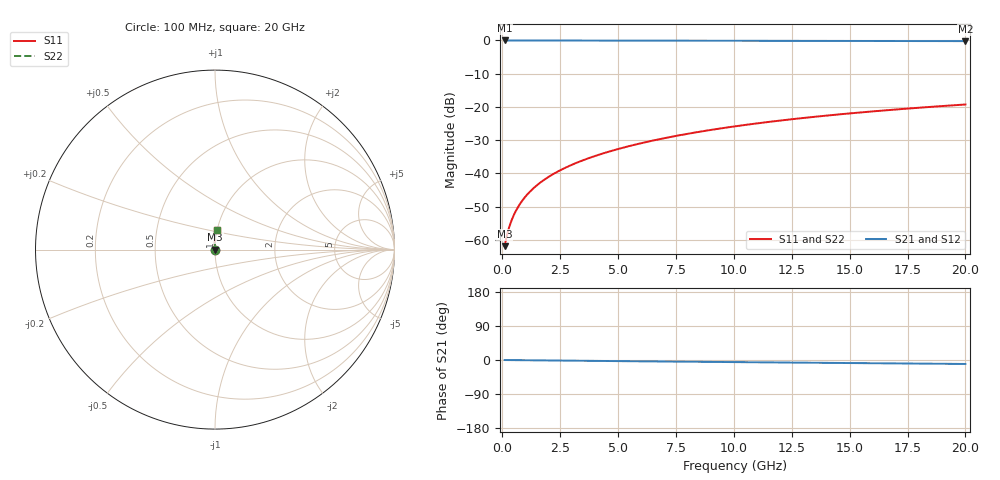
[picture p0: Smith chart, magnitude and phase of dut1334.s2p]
! Touchstone file exported from HFSS 2024.1.0
!  File:  C:/UserFiles/LocalFiles/RDL_TSV_Batchsim/temp_RDL_bottom_1334_1780369526.aedt
!  Generated:  11:07:44 AM Jun  2, 2026
!  Design:  RDL_bottom
!  Project:  temp_RDL_bottom_1334_1780369526
!  Setup:  Setup1
!  Solution:  Sweep
! Variables:
!  dtsv = 10.80580581um
!  hbump = 3um
!  htsv = 74.67um
!  ldown = 128.06um
!  lrdl = 100um
!  p = 40
!  p1 = 49.31um
!  rhole = 1um
!  t = 450um
!  tdown = 4.07um
!  trdl = 3.915915916um
!  wdown = 26.55um
!  wrdl = 20um
# GHz S MA R 50.000000
! Terminal data exported
! Port[1] = RDL1_T1
! Port[2] = RDL1_T2
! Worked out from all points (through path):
!   200 points, 100 MHz to 20 GHz, reference 50 ohm
!   highest |S21| = -0.01 dB at 100 MHz (marker M1); lowest = -0.2 dB at 20 GHz (marker M2)
!   group delay of S21, straight-line fit = 1.43 ps
!   lowest |S11| = -61.9 dB at 100 MHz (marker M3), VSWR 1.00, Z = 50.1 + j0.0494 ohm
!   |S11| at or under -10 dB: start of sweep to end of sweep
!   |S22| runs from -61.9 to -19.3 dB; largest |S21 - S12| = 2.3e-15
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0.1  0.0008011 38.0  0.9994 -0.1  0.9994 -0.1  0.0008011 38.0
! Gamma 0 0 0 0
! Port Impedance 50 0 50 0
0.2  0.001167 55.0  0.9993 -0.1  0.9993 -0.1  0.001167 55.0
0.3  0.00156 63.3  0.9993 -0.2  0.9993 -0.2  0.00156 63.3
0.4  0.001959 68.6  0.9992 -0.3  0.9992 -0.3  0.001959 68.6
0.5  0.002365 72.2  0.9992 -0.3  0.9992 -0.3  0.002365 72.2
0.6  0.002777 74.9  0.9991 -0.4  0.9991 -0.4  0.002777 74.9
0.8  0.003614 78.7  0.9991 -0.5  0.9991 -0.5  0.003614 78.7
1.1  0.004895 82.2  0.9989 -0.7  0.9989 -0.7  0.004895 82.2
1.5  0.006634 85.1  0.9987 -0.9  0.9987 -0.9  0.006634 85.1
1.8  0.007958 86.5  0.9985 -1.1  0.9985 -1.1  0.007958 86.5
2.1  0.009299 87.7  0.9983 -1.3  0.9983 -1.3  0.009299 87.7
2.7  0.01203 89.3  0.9977 -1.6  0.9977 -1.6  0.01203 89.3
3.5  0.01579 90.8  0.9968 -2.1  0.9968 -2.1  0.01579 90.8
4.2  0.01919 91.7  0.9959 -2.5  0.9959 -2.5  0.01919 91.7
5  0.02321 92.4  0.9948 -3.0  0.9948 -3.0  0.02321 92.4
6.8  0.03272 92.9  0.9921 -3.9  0.9921 -3.9  0.03272 92.9
8.4  0.04157 92.7  0.9898 -4.8  0.9898 -4.8  0.04157 92.7
10.1  0.05126 92.0  0.9875 -5.6  0.9875 -5.6  0.05126 92.0
11.7  0.06052 91.1  0.9855 -6.4  0.9855 -6.4  0.06051 91.1
13.4  0.07042 90.0  0.9835 -7.3  0.9835 -7.3  0.07042 90.0
16.7  0.08964 87.8  0.9798 -8.9  0.9798 -8.9  0.08964 87.8
20  0.1087 85.6  0.9763 -10.5  0.9763 -10.5  0.1087 85.6
